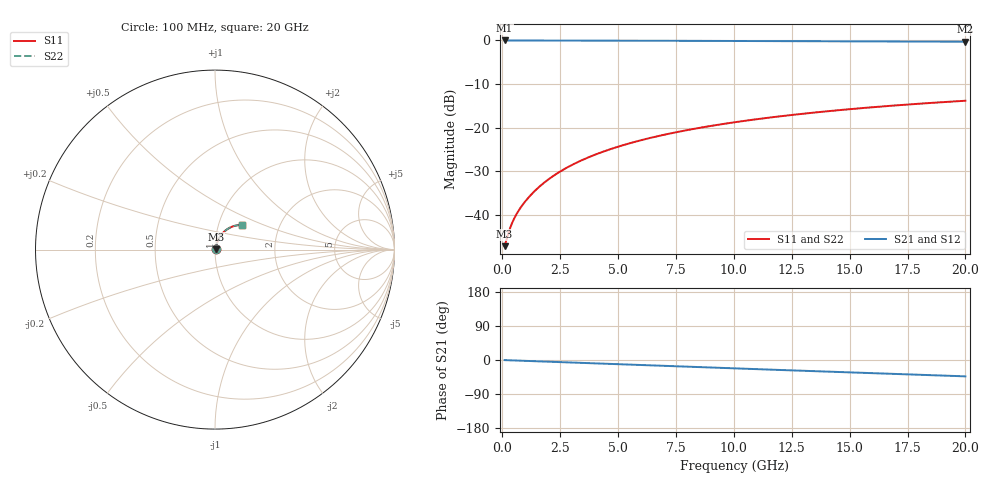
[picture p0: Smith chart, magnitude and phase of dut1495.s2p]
! Touchstone file exported from HFSS 2026.1.0
!  File:  C:/ffzhzh/LocalFiles/Ansys_Project_Files/temp_train_TMRDL_1495_1783167905_43440.aedt
!  Generated:  08:26:15 PM Jul  4, 2026
!  Design:  TMRDL
!  Project:  temp_train_TMRDL_1495_1783167905_43440
! Variables:
!  h_bsmrdl = 2um
!  h_ox = 20um
!  h_rdl = 5um
!  h_sub = 80um
!  h_tmrdl = 2.76um
!  h_tsv = 80um
!  h_via = 3um
!  l_bsmrdl = 300um
!  l_sub = 1125.9um
!  l_tmrdl = 725.9um
!  m_sub = 200um
!  pitch = 34.63um
!  r_tsv = 6um
!  s_tmrdl = 10um
!  w_bsmrdl = 18um
!  w_sub = 500um
!  w_tmrdl = 24.98um
!  x_tsv_center1 = 738.39um
!  x_tsv_center2 = 1056.39um
!  x_tsv_center3 = 1807.27um
!  x_tsv_center4 = 2125.27um
!  x_tsv_center5 = 2876.15um
!  x_tsv_center6 = 3194.15um
# GHz S MA R 50.000000
! Terminal data exported
! Port[1] = TM_RDL1_1_T1
! Port[2] = TM_RDL1_1_T2
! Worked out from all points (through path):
!   200 points, 100 MHz to 20 GHz, reference 50 ohm
!   highest |S21| = -0.04 dB at 100 MHz (marker M1); lowest = -0.3 dB at 20 GHz (marker M2)
!   group delay of S21, straight-line fit = 5.99 ps
!   lowest |S11| = -47.2 dB at 100 MHz (marker M3), VSWR 1.01, Z = 50.4 + j0.169 ohm
!   |S11| at or under -10 dB: start of sweep to end of sweep
!   |S22| runs from -47.2 to -13.9 dB; largest |S21 - S12| = 5.3e-15
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0.1  0.004372 22.6  0.996 -0.3  0.996 -0.3  0.004372 22.6
! Gamma 0 0 0 0
! Port Impedance 50 0 50 0
0.3  0.006601 45.0  0.9954 -0.7  0.9954 -0.7  0.006601 45.0
0.4  0.007788 49.8  0.9951 -1.0  0.9951 -1.0  0.007789 49.8
0.5  0.008928 53.3  0.9948 -1.2  0.9948 -1.2  0.008929 53.3
0.6  0.01003 56.0  0.9946 -1.4  0.9946 -1.4  0.01003 56.0
0.8  0.01219 60.1  0.9942 -1.8  0.9942 -1.8  0.01219 60.1
1  0.01434 63.3  0.994 -2.3  0.994 -2.3  0.01434 63.3
1.2  0.01653 65.7  0.9938 -2.7  0.9938 -2.7  0.01653 65.7
1.7  0.02214 69.6  0.9935 -3.8  0.9935 -3.8  0.02213 69.6
2.2  0.02788 71.5  0.9931 -4.9  0.9931 -4.9  0.02788 71.5
2.8  0.03485 72.6  0.9927 -6.3  0.9927 -6.3  0.03485 72.5
3.5  0.04301 72.7  0.992 -7.8  0.992 -7.8  0.043 72.7
4.2  0.05113 72.3  0.9913 -9.4  0.9913 -9.4  0.05113 72.3
5  0.06034 71.4  0.9904 -11.1  0.9904 -11.1  0.06034 71.4
5.9  0.07057 70.1  0.9892 -13.1  0.9892 -13.1  0.07056 70.1
6.8  0.08061 68.6  0.9878 -15.1  0.9878 -15.1  0.08061 68.6
8.3  0.09693 65.8  0.9854 -18.4  0.9854 -18.4  0.09692 65.8
10.1  0.1157 62.3  0.9823 -22.3  0.9823 -22.3  0.1157 62.3
11.7  0.1317 59.2  0.9793 -25.7  0.9793 -25.7  0.1317 59.1
13.4  0.1479 55.8  0.9761 -29.3  0.9761 -29.3  0.1479 55.7
16.7  0.177 49.2  0.9697 -36.3  0.9697 -36.3  0.177 49.2
20  0.2029 42.7  0.9635 -43.2  0.9635 -43.2  0.2028 42.6
